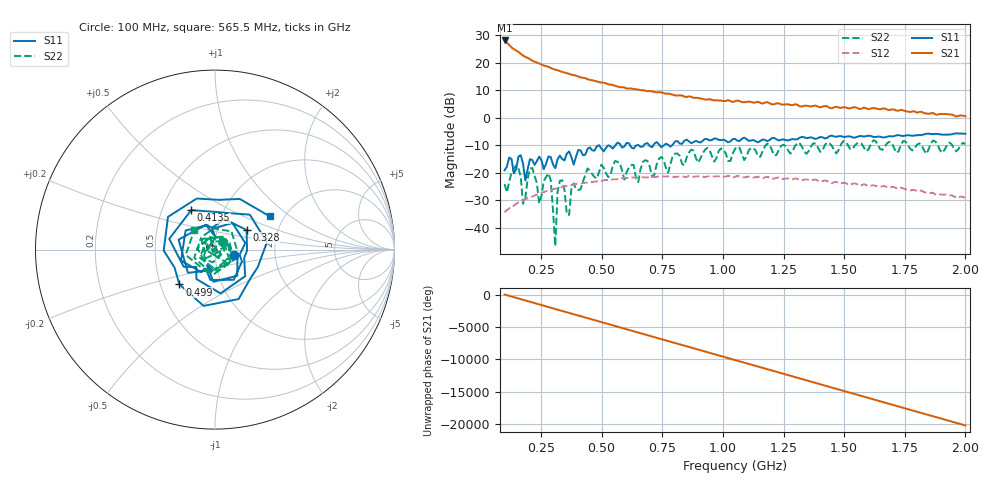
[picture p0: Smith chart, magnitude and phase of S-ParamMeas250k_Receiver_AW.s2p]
!Keysight Technologies,N5242B,MY48420967,A.15.65.19
!Date: Saturday, February 04, 2023 14:24:25
!Correction: S11(C  1-Port  )
!S21(Off)
!S12(Off)
!S22(Off)
!S2P File: Measurements: S11, S21, S12, S22:
# Hz S  dB  R 50
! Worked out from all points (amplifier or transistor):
!   201 points, 100 MHz to 2 GHz, reference 50 ohm
!   highest |S21| = 28.1 dB at 100 MHz (marker M1)
!   |S21| within 3 dB of that: start of sweep to 136 MHz
!   unconditionally stable (mu >= 1): start of sweep to end of sweep
!   at 413.5 MHz: K = 1.51, MAG = 15.1 dB, |S12| = -23.9 dB
!   at 1.05 GHz: K = 2.41, MAG = 7.1 dB, |S12| = -21.4 dB
!   at 2 GHz: K = 8.41, MAG = 2.5 dB, |S12| = -28.9 dB
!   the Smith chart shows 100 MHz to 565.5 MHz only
!   S11 on the Smith chart (normalised r, x): 100 MHz: 1.24, -0.08; 328 MHz: 1.38, +0.32; 413.5 MHz: 0.70, +0.33; 499 MHz: 0.63, -0.26; 565.5 MHz: 1.68, +0.72
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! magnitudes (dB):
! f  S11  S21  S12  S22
! 100 MHz  -19.0  28.1  -34.3  -24.0
! 147.5 MHz  -18.7  24.5  -31.2  -17.3
! 176 MHz  -16.6  22.7  -30.0  -31.2
! 185.5 MHz  -22.7  22.2  -29.6  -29.0
! 214 MHz  -15.3  20.8  -28.6  -18.2
! 242.5 MHz  -14.1  19.8  -27.5  -31.1
! 280.5 MHz  -14.0  18.6  -26.3  -20.2
! 309 MHz  -18.3  17.6  -25.7  -46.6
! 318.5 MHz  -15.0  17.3  -25.5  -26.8
! 328 MHz  -13.7  17.0  -25.3  -22.9
! 356.5 MHz  -13.0  16.3  -24.7  -34.9
! 385 MHz  -17.0  15.5  -24.2  -23.8
! 413.5 MHz  -11.8  14.7  -23.9  -25.9
! 423 MHz  -13.6  14.6  -23.7  -23.1
! 499 MHz  -11.1  12.8  -22.9  -17.0
! 565.5 MHz  -9.0  11.4  -22.3  -16.0
! 651 MHz  -9.8  10.3  -21.6  -23.3
! 736.5 MHz  -9.6  9.4  -21.2  -14.9
! 1.05 GHz  -7.6  6.0  -21.4  -11.3
! 1.373 GHz  -7.4  4.4  -22.5  -9.2
! 1.687 GHz  -6.6  2.8  -25.4  -8.7
! 2 GHz  -5.8  0.6  -28.9  -9.5
